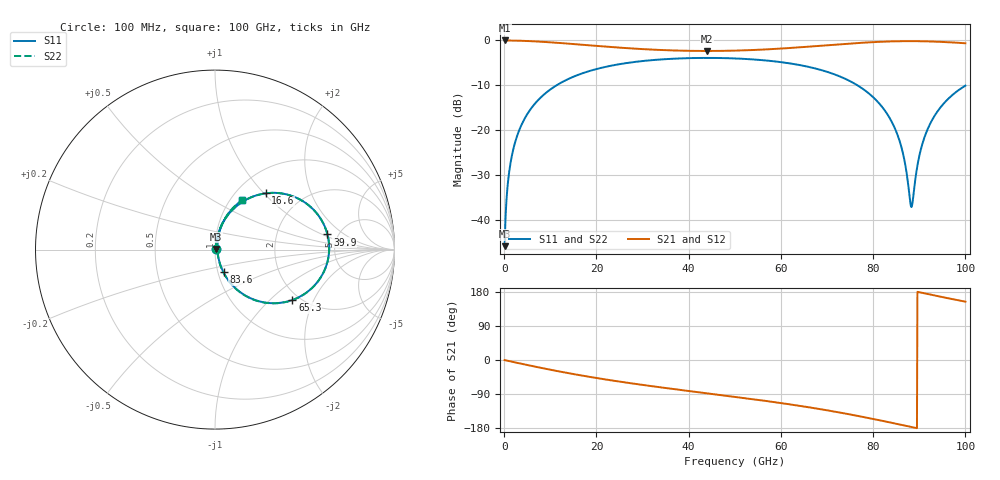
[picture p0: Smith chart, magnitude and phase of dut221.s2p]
! Touchstone file exported from HFSS 2026.1.0
!  File:  C:/ffzhzh/LocalFiles/Ansys_Project_Files/temp_train_RDL_221_1783501000_44152.aedt
!  Generated:  04:58:06 PM Jul  8, 2026
!  Design:  RDL
!  Project:  temp_train_RDL_221_1783501000_44152
! Variables:
!  h_bsmrdl = 2um
!  h_ox = 20um
!  h_rdl = 5um
!  h_sub = 80um
!  h_tmrdl = 3.28um
!  h_tsv = 80um
!  h_via = 3um
!  l_bsmrdl = 300um
!  l_sub = 1063.13um
!  l_tmrdl = 663.13um
!  m_sub = 200um
!  pitch = 54.26um
!  r_tsv = 6um
!  s_tmrdl = 10um
!  w_bsmrdl = 18um
!  w_sub = 500um
!  w_tmrdl = 19.38um
!  x_tsv_center1 = 672.82um
!  x_tsv_center2 = 990.82um
!  x_tsv_center3 = 1673.33um
!  x_tsv_center4 = 1991.33um
!  x_tsv_center5 = 2673.84um
!  x_tsv_center6 = 2991.84um
# GHz S MA R 50.000000
! Terminal data exported
! Port[1] = TM_RDL1_1_T1
! Port[2] = TM_RDL1_1_T2
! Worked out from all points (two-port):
!   1000 points, 100 MHz to 100 GHz, reference 50 ohm
!   highest |S21| = -0.03 dB at 100 MHz (marker M1); lowest = -2.4 dB at 44 GHz (marker M2)
!   |S21| within 3 dB of the highest: start of sweep to end of sweep
!   lowest |S11| = -45.9 dB at 100 MHz (marker M3), VSWR 1.01, Z = 50.4 + j0.329 ohm
!   |S11| at or under -10 dB: start of sweep to 11.42 GHz; 76.53 GHz to end of sweep
!   |S22| runs from -45.9 to -3.9 dB; largest |S21 - S12| = 1.7e-14
!   S11 on the Smith chart (normalised r, x): 100 MHz: 1.01, +0.01; 16.6 GHz: 1.34, +1.02; 39.9 GHz: 4.09, +1.15; 65.3 GHz: 1.83, -1.40; 83.6 GHz: 1.06, -0.27; 100 GHz: 1.13, +0.69
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0.1  0.005061 40.2  0.9961 -0.3  0.9961 -0.3  0.005061 40.2
! Gamma 0 0 0 0
! Port Impedance 50 0 50 0
0.8  0.02538 77.4  0.9951 -2.2  0.9951 -2.2  0.02538 77.4
1.4  0.04343 79.8  0.9942 -3.8  0.9942 -3.8  0.04343 79.8
4  0.121 76.5  0.9866 -10.6  0.9866 -10.6  0.121 76.5
8.9  0.2553 65.1  0.9581 -23.0  0.9581 -23.0  0.2553 65.0
16.6  0.4221 48.0  0.8952 -40.5  0.8952 -40.5  0.4221 48.0
16.8  0.4257 47.6  0.8935 -40.9  0.8935 -40.9  0.4257 47.5
33.4  0.6086 17.8  0.782 -71.3  0.782 -71.3  0.6086 17.7
39.9  0.6323 7.7  0.7636 -81.6  0.7636 -81.6  0.6323 7.6
44  0.6364 1.5  0.7604 -87.9  0.7604 -87.9  0.6363 1.4
50.1  0.6275 -7.7  0.7676 -97.3  0.7676 -97.3  0.6275 -7.8
65.3  0.5146 -33.1  0.8442 -123.3  0.8442 -123.3  0.5145 -33.2
66.7  0.496 -35.7  0.8547 -126.0  0.8547 -126.0  0.496 -35.8
76.9  0.3078 -56.5  0.9344 -148.1  0.9344 -148.1  0.3077 -56.7
83.4  0.141 -69.2  0.9705 -164.1  0.9705 -164.1  0.1409 -69.7
83.6  0.1354 -69.5  0.9712 -164.6  0.9712 -164.6  0.1353 -70.0
86.2  0.06231 -69.2  0.9776 -171.3  0.9776 -171.3  0.06208 -70.2
88.3  0.01381 2.9  0.9788 -176.8  0.9788 -176.8  0.01275 2.9
90.2  0.05675 73.7  0.9768 178.3  0.9768 178.3  0.0565 74.7
92.1  0.1101 75.7  0.9719 173.4  0.9719 173.4  0.1099 76.2
95.4  0.1998 70.7  0.9573 165.0  0.9573 165.0  0.1997 71.0
100  0.3123 61.2  0.9271 153.9  0.9271 153.9  0.3123 61.3
